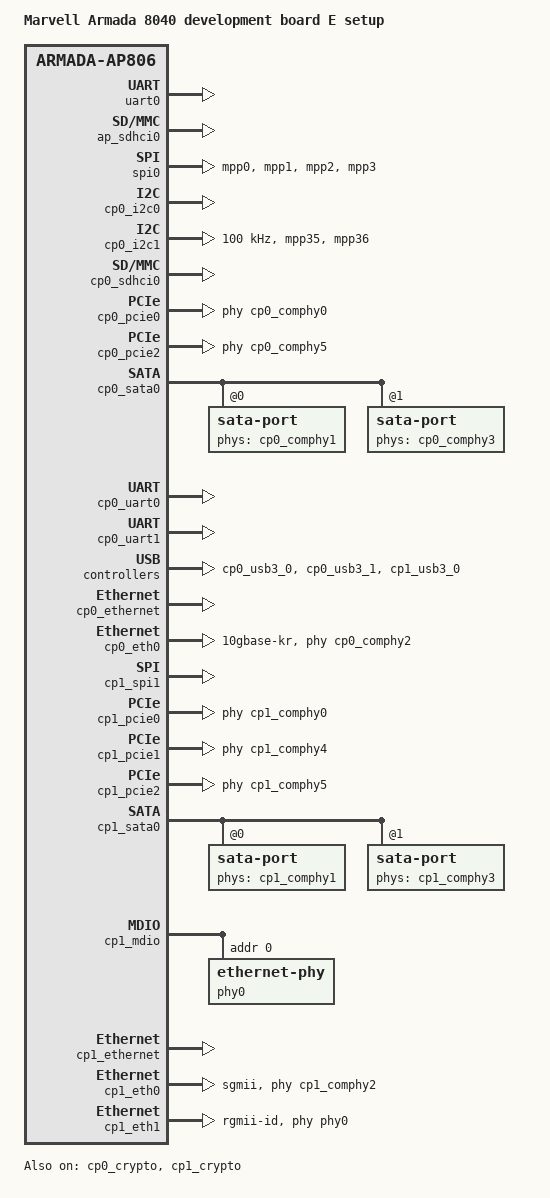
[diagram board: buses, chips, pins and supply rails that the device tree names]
// SPDX-License-Identifier: (GPL-2.0+ OR MIT)
/*
 * Device Tree file for Marvell Armada 8040 development board
 * This file supports option default (A) configuration
 * 4xUART(AP,CP1_UA0,2xCP0_UA0),AP_I2C,AP_SPI,CP0_I2C0,CP0_I2C1,
 * CP0_SDIO-4b,CP1_SPI,CP1_RGMII0
 */

#include "armada-8040-db.dtsi"

/ {
	model = "Marvell Armada 8040 development board E setup";
	compatible = "marvell,armada8040-db-E", "marvell,armada8040-db",
		"marvell,armada8040", "marvell,armada-ap806-quad",
		"marvell,armada-ap806";

	chosen {
		stdout-path = "serial0:115200n8";
	};

	aliases {
		ethernet0 = &cp0_eth0;
		ethernet1 = &cp1_eth0;
		ethernet2 = &cp1_eth1;
	};

	ap_pinctrl {
		ap_spi0_pins: spi-pins-0 {
			marvell,pins = "mpp0", "mpp1", "mpp2",
			"mpp3";
			marvell,function = "spi0";
		};
	};
};

&uart0 {
	status = "okay";
};

&ap_sdhci0 {
	status = "okay";
};

&spi0 {
	status = "okay";
	pinctrl-names = "default";
	pinctrl-0 = <&ap_spi0_pins>;
};

&cp0_i2c0 {
	status = "okay";
};

&cp0_i2c1 {
	status = "okay";
	clock-frequency = <100000>;
	pinctrl-names = "default";
	pinctrl-0 = <&cp0_i2c1_pins>;
};

&cp0_sdhci0 {
	status = "okay";
};

/* CON6 on CP0 expansion */
&cp0_pcie0 {
	status = "okay";
	phys = <&cp0_comphy0 0>;
};

/* CON5 on CP0 expansion */
&cp0_pcie2 {
	status = "okay";
	phys = <&cp0_comphy5 2>;
};

&cp0_sata0 {
	status = "okay";
	/* CON2 on CP0 expansion */
	sata-port@0 {
		status = "okay";
		/* Generic PHY, providing serdes lanes */
		phys = <&cp0_comphy1 0>;
	};
	/* CON4 on CP0 expansion */
	sata-port@1 {
		status = "okay";
		/* Generic PHY, providing serdes lanes */
		phys = <&cp0_comphy3 1>;
	};
};

&cp0_pinctrl {
	cp0_i2c1_pins: i2c-pins-1 {
		marvell,pins = "mpp35", "mpp36";
		marvell,function = "i2c1";
	};
};

&cp0_uart0 {
	status = "okay";
};

&cp0_uart1 {
	status = "okay";
};

/* CON9 on CP0 expansion */
&cp0_usb3_0 {
	status = "okay";
};

/* CON10 on CP0 expansion */
&cp0_usb3_1 {
	status = "okay";
};

&cp0_ethernet {
	status = "okay";
};

&cp0_eth0 {
	status = "okay";
	phy-mode = "10gbase-kr";
	/* Generic PHY, providing serdes lanes */
	phys = <&cp0_comphy2 0>;
	managed = "in-band-status";
	sfp = <&sfp_eth0>;
};

&cp1_spi1 {
	status = "okay";
};

/* CON6 on CP1 expansion */
&cp1_pcie0 {
	status = "okay";
	phys = <&cp1_comphy0 0>;
};

/* CON7 on CP1 expansion */
&cp1_pcie1 {
	status = "okay";
	phys = <&cp1_comphy4 1>;
};

/* CON5 on CP1 expansion */
&cp1_pcie2 {
	status = "okay";
	phys = <&cp1_comphy5 2>;
};

/* CON4 on CP1 expansion */
&cp1_sata0 {
	status = "okay";
	/* CON2 on CP1 expansion */
	sata-port@0 {
		status = "okay";
		/* Generic PHY, providing serdes lanes */
		phys = <&cp1_comphy1 0>;
	};
	/* CON4 on CP1 expansion */
	sata-port@1 {
		status = "okay";
		/* Generic PHY, providing serdes lanes */
		phys = <&cp1_comphy3 1>;
	};
};

/* CON9 on CP1 expansion */
&cp1_usb3_0 {
	status = "okay";
};

&cp1_mdio {
	status = "okay";

	phy0: ethernet-phy@0 {
		reg = <0>;
	};
};

&cp1_ethernet {
	status = "okay";
};

&cp1_eth0 {
	status = "okay";
	/* Network PHY */
	phy-mode = "sgmii";
	phy-speed = <2500>;
	/* Generic PHY, providing serdes lanes */
	phys = <&cp1_comphy2 0>;
};

&cp1_eth1 {
	status = "okay";
	phy = <&phy0>;
	phy-mode = "rgmii-id";
};

&cp0_crypto {
	status = "okay";
};

&cp1_crypto {
	status = "okay";
};
